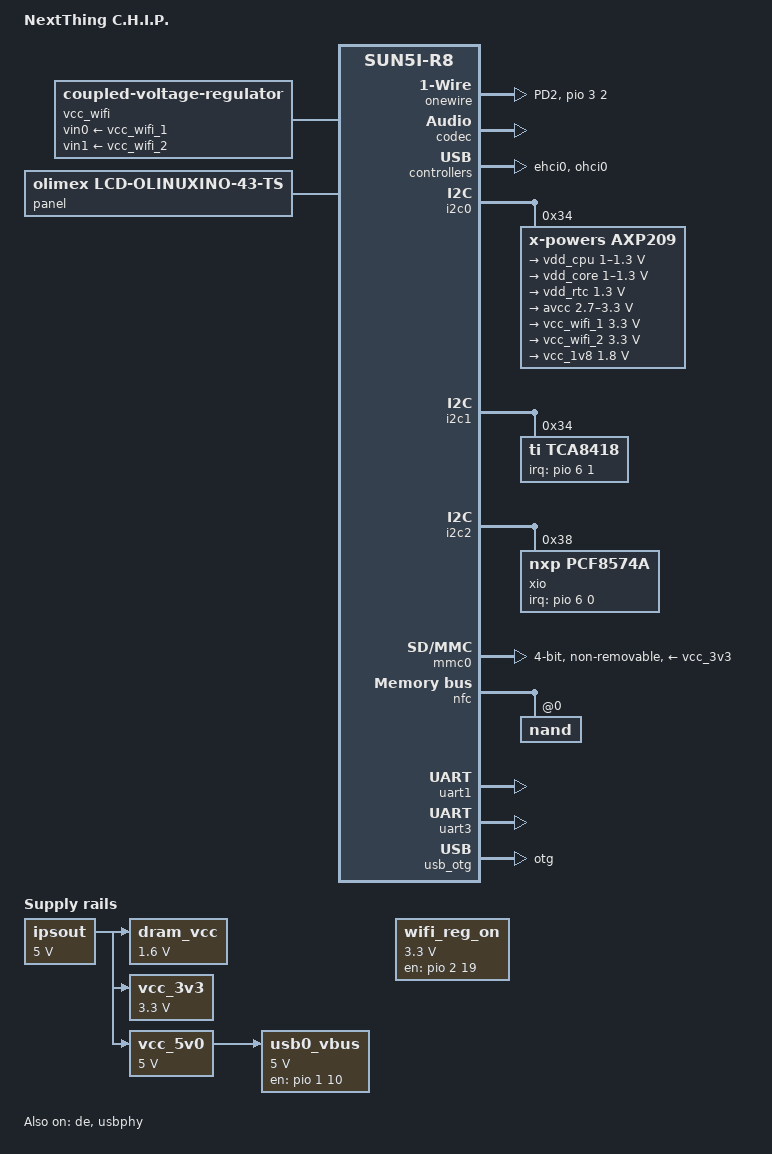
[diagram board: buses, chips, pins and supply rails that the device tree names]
/*
 * Copyright 2015 Maxime Ripard
 *
 * Maxime Ripard <maxime.ripard@free-electrons.com>
 *
 * This file is dual-licensed: you can use it either under the terms
 * of the GPL or the X11 license, at your option. Note that this dual
 * licensing only applies to this file, and not this project as a
 * whole.
 *
 *  a) This file is free software; you can redistribute it and/or
 *     modify it under the terms of the GNU General Public License as
 *     published by the Free Software Foundation; either version 2 of the
 *     License, or (at your option) any later version.
 *
 *     This file is distributed in the hope that it will be useful,
 *     but WITHOUT ANY WARRANTY; without even the implied warranty of
 *     MERCHANTABILITY or FITNESS FOR A PARTICULAR PURPOSE.  See the
 *     GNU General Public License for more details.
 *
 * Or, alternatively,
 *
 *  b) Permission is hereby granted, free of charge, to any person
 *     obtaining a copy of this software and associated documentation
 *     files (the "Software"), to deal in the Software without
 *     restriction, including without limitation the rights to use,
 *     copy, modify, merge, publish, distribute, sublicense, and/or
 *     sell copies of the Software, and to permit persons to whom the
 *     Software is furnished to do so, subject to the following
 *     conditions:
 *
 *     The above copyright notice and this permission notice shall be
 *     included in all copies or substantial portions of the Software.
 *
 *     THE SOFTWARE IS PROVIDED "AS IS", WITHOUT WARRANTY OF ANY KIND,
 *     EXPRESS OR IMPLIED, INCLUDING BUT NOT LIMITED TO THE WARRANTIES
 *     OF MERCHANTABILITY, FITNESS FOR A PARTICULAR PURPOSE AND
 *     NONINFRINGEMENT. IN NO EVENT SHALL THE AUTHORS OR COPYRIGHT
 *     HOLDERS BE LIABLE FOR ANY CLAIM, DAMAGES OR OTHER LIABILITY,
 *     WHETHER IN AN ACTION OF CONTRACT, TORT OR OTHERWISE, ARISING
 *     FROM, OUT OF OR IN CONNECTION WITH THE SOFTWARE OR THE USE OR
 *     OTHER DEALINGS IN THE SOFTWARE.
 */

/dts-v1/;
#include "sun5i-r8.dtsi"

#include <dt-bindings/gpio/gpio.h>
#include <dt-bindings/interrupt-controller/irq.h>

/ {
	model = "NextThing C.H.I.P.";
	compatible = "nextthing,chip", "allwinner,sun5i-r8";

	aliases {
		i2c0 = &i2c0;
		i2c1 = &i2c1;
		i2c2 = &i2c2;
		serial0 = &uart1;
		serial1 = &uart3;
	};

	chosen {
		stdout-path = "serial0:115200n8";
	};

	onewire {
		compatible = "w1-gpio";
		gpios = <&pio 3 2 GPIO_ACTIVE_HIGH>; /* PD2 */
		pinctrl-names = "default";
		pinctrl-0 = <&chip_w1_pin>;
	};

	dram_vcc: dram_vcc {
		compatible = "regulator-fixed";
		regulator-name = "dram-vcc";
		regulator-min-microvolt = <1600000>;
		regulator-max-microvolt = <1600000>;
		vin-supply = <&ipsout>;
		regulator-always-on;
	};

	ipsout: ipsout {
		compatible = "regulator-fixed";
		regulator-name = "ipsout";
		regulator-min-microvolt = <5000000>;
		regulator-max-microvolt = <5000000>;
		regulator-always-on;
	};

	usb0_vbus: usb0_vbus {
		compatible = "regulator-fixed";
		pinctrl-names = "default";
		pinctrl-0 = <&chip_vbus_pin>;

		regulator-name = "vbus-usb0";
		regulator-min-microvolt = <5000000>;
		regulator-max-microvolt = <5000000>;
		vin-supply = <&vcc_5v0>;
		gpio = <&pio 1 10 GPIO_ACTIVE_HIGH>; /* PB10 */
		enable-active-high;
	};

	vcc_3v3: vcc3v3 {
		compatible = "regulator-fixed";
		regulator-name = "vcc-3v3";
		regulator-min-microvolt = <3300000>;
		regulator-max-microvolt = <3300000>;
		vin-supply = <&ipsout>;
		regulator-always-on;
	};

	vcc_5v0: vcc5v0 {
		compatible = "regulator-fixed";
		regulator-name = "vcc-5v0";
		regulator-min-microvolt = <5000000>;
		regulator-max-microvolt = <5000000>;
		vin-supply = <&ipsout>;
		regulator-always-on;
	};

	/*
	 * This is actually an active-low reset line for the WLAN
	 * part of the WiFi/BT CHIP.
	 *
	 * Just like for LDO3 and LDO4, we cannot tie it to the DT
	 * node of the SDIO device for now, as there is no bindings
	 * for it, so we need to have this hack.
	 */
	wifi_reg_on: wifi_reg_on {
		compatible = "regulator-fixed";
		pinctrl-names = "default";
		pinctrl-0 = <&chip_wifi_reg_on_pin>;

		regulator-name = "wifi-reg-on";
		regulator-min-microvolt = <3300000>;
		regulator-max-microvolt = <3300000>;
		regulator-always-on;
		gpio = <&pio 2 19 GPIO_ACTIVE_HIGH>; /* PC19 */
		enable-active-high;
	};

	/*
	 * Both LDO3 and LDO4 are used in parallel to power up the
	 * WiFi/BT Chip.
	 *
	 * If those are not enabled, the SDIO part will not enumerate,
	 * and since there's no way currently to pass DT infos to an
	 * SDIO device, we cannot really do better than this ugly hack
	 * for now.
	 */

	vcc_wifi: wifi_reg {
		compatible = "coupled-voltage-regulator";
		regulator-name = "vcc-wifi";
		vin0-supply = <&vcc_wifi_1>;
		vin1-supply = <&vcc_wifi_2>;
		regulator-always-on;
	};

	panel: panel {
		compatible = "olimex,lcd-olinuxino-43-ts";
	};
};

&codec {
	routing =
		"Headphone Jack", "HP Left",
		"Headphone Jack", "HP Right";
	status = "okay";
};

&de {
	allwinner,panel = <&panel>;
	status = "okay";
};

&ehci0 {
	status = "okay";
};

&i2c0 {
	pinctrl-names = "default";
	pinctrl-0 = <&i2c0_pins_a>;
	status = "okay";

	axp209: pmic@34 {
		compatible = "x-powers,axp209";
		reg = <0x34>;

		/*
		 * The interrupt is routed through the "External Fast
                 * Interrupt Request" pin (ball G13 of the module)
                 * directly to the main interrupt controller, without
                 * any other controller interfering.
		 */
		interrupts = <0>;

		interrupt-controller;
		#interrupt-cells = <1>;

		regulators {
			vdd_cpu: dcdc2 {
				regulator-min-microvolt = <1000000>;
				regulator-max-microvolt = <1300000>;
				regulator-name = "cpuvdd";
				regulator-always-on;
			};

			vdd_core: dcdc3 {
				regulator-min-microvolt = <1000000>;
				regulator-max-microvolt = <1300000>;
				regulator-name = "corevdd";
				regulator-always-on;
			};

			vdd_rtc: ldo1 {
				regulator-min-microvolt = <1300000>;
				regulator-max-microvolt = <1300000>;
				regulator-name = "rtcvdd";
				regulator-always-on;
			};

			avcc: ldo2 {
				regulator-min-microvolt = <2700000>;
				regulator-max-microvolt = <3300000>;
				regulator-name = "avcc";
				regulator-always-on;
			};

			vcc_wifi_1: ldo3 {
				regulator-min-microvolt = <3300000>;
				regulator-max-microvolt = <3300000>;
				regulator-name = "vcc-wifi-1";
			};

			vcc_wifi_2: ldo4 {
				regulator-min-microvolt = <3300000>;
				regulator-max-microvolt = <3300000>;
				regulator-name = "vcc-wifi-2";
			};

			vcc_1v8: ldo5 {
				regulator-min-microvolt = <1800000>;
				regulator-max-microvolt = <1800000>;
				regulator-name = "vcc-1v8";
			};
		};
	};
};

/*
 * i2c1 is routed to the external pins and doesn't have any device
 * attached to it on the C.H.I.P itself.
 */
&i2c1 {
	pinctrl-names = "default";
	pinctrl-0 = <&i2c1_pins_a>;
	status = "okay";
};

&i2c2 {
	pinctrl-names = "default";
	pinctrl-0 = <&i2c2_pins_a>;
	status = "okay";

	xio: gpio@38 {
		compatible = "nxp,pcf8574a";
		reg = <0x38>;

		gpio-controller;
		#gpio-cells = <2>;

		interrupt-parent = <&pio>;
		interrupts = <6 0 IRQ_TYPE_EDGE_FALLING>;
		interrupt-controller;
		#interrupt-cells = <2>;
	};
};

&mmc0_pins_a {
	allwinner,pull = <SUN4I_PINCTRL_PULL_UP>;
};

&mmc0 {
	pinctrl-names = "default";
	pinctrl-0 = <&mmc0_pins_a>;
	vmmc-supply = <&vcc_3v3>;
	bus-width = <4>;
	non-removable;
	status = "okay";
};

&nfc {
	pinctrl-names = "default";
	pinctrl-0 = <&nand_pins_a &nand_cs0_pins_a &nand_rb0_pins_a>;
	status = "okay";

	nand@0 {
		#address-cells = <2>;
		#size-cells = <2>;
		reg = <0>;
		allwinner,rb = <0>;
		nand-ecc-mode = "hw";
		nand-ecc-step-size = <1024>;
		nand-ecc-strength = <56>;
    /*
		nand-on-flash-bbt;
    */
		allwinner,randomize;

		spl@0 {
			label = "SPL";
			reg = /bits/ 64 <0x0 0x400000>;
		};

		spl-backup@400000 {
			label = "SPL.backup";
			reg = /bits/ 64 <0x400000 0x400000>;
		};

		u-boot@800000 {
			label = "U-Boot";
			reg = /bits/ 64 <0x800000 0x400000>;
		};

		env@c00000 {
			label = "env";
			reg = /bits/ 64 <0xc00000 0x400000>;
		};

		rootfs@1000000 {
			label = "rootfs";
			reg = /bits/ 64 <0x1000000 0x1ff000000>;
		};
	};
};

&ohci0 {
	status = "okay";
};

&otg_sram {
	status = "okay";
};

&pio {
	chip_vbus_pin: chip_vbus_pin@0 {
	        allwinner,pins = "PB10";
	        allwinner,function = "gpio_out";
	        allwinner,drive = <SUN4I_PINCTRL_10_MA>;
	        allwinner,pull = <SUN4I_PINCTRL_NO_PULL>;
	};

	chip_wifi_reg_on_pin: chip_wifi_reg_on_pin@0 {
	        allwinner,pins = "PC19";
	        allwinner,function = "gpio_out";
	        allwinner,drive = <SUN4I_PINCTRL_10_MA>;
	        allwinner,pull = <SUN4I_PINCTRL_NO_PULL>;
	};

	chip_id_det_pin: chip_id_det_pin@0 {
	        allwinner,pins = "PG2";
	        allwinner,function = "gpio_in";
	        allwinner,drive = <SUN4I_PINCTRL_10_MA>;
	        allwinner,pull = <SUN4I_PINCTRL_NO_PULL>;
	};

	chip_w1_pin: chip_w1_pin@0 {
		allwinner,pins = "PD2";
		allwinner,function = "gpio_in";
	        allwinner,drive = <SUN4I_PINCTRL_10_MA>;
	        allwinner,pull = <SUN4I_PINCTRL_PULL_UP>;
	};
};

&uart1 {
	pinctrl-names = "default";
	pinctrl-0 = <&uart1_pins_b>;
	status = "okay";
};

&uart3 {
	pinctrl-names = "default";
	pinctrl-0 = <&uart3_pins_a>,
		    <&uart3_pins_cts_rts_a>;
	status = "okay";
};

&usb_otg {
	dr_mode = "otg";
	status = "okay";
};

&usbphy {
	pinctrl-names = "default";
	pinctrl-0 = <&chip_id_det_pin>;
	status = "okay";

	usb0_id_det-gpio = <&pio 6 2 GPIO_ACTIVE_HIGH>; /* PG2 */

	usb0_vbus-supply = <&usb0_vbus>;
	usb1_vbus-supply = <&vcc_5v0>;
};

&i2c1 {
        pinctrl-names = "default";
        pinctrl-0 = <&i2c1_pins_a>;
        status = "okay";
        /* keyboard scanner */
        tca8418@34 {
                compatible = "ti,tca8418";
                reg = <0x34>;
                /* the interrupt is specified as:
                        The first cell is the number of the bank
                        The second cell is the interrupt inside that bank
                        The third cell is used to specify flags
                */
                interrupt-parent = <&pio>;
                interrupts = <6 1 IRQ_TYPE_EDGE_FALLING>;    /* AP-EINT1 */
                keypad,num-rows = <6>;
                keypad,num-columns = <10>;
                keypad,autorepeat;
                linux,keymap = <
                        0x00000002
                        0x00010003
                        0x00020004
                        0x00030005
                        0x00040006
                        0x00050007
                        0x00060008
                        0x00070009
                        0x0008000a
                        0x0009000b
                        0x01000010
                        0x01010011
                        0x01020012
                        0x01030013
                        0x01040014
                        0x01050015
                        0x01060016
                        0x01070017
                        0x01080018
                        0x01090019
                        0x0200001e
                        0x0201001f
                        0x02020020
                        0x02030021
                        0x02040022
                        0x02050023
                        0x02060024
                        0x02070025
                        0x02080026
                        0x0209001c
                        0x0300002a
                        0x0301002c
                        0x0302002d
                        0x0303002e
                        0x0304002f
                        0x03050030
                        0x03060031
                        0x03070032
                        0x03080067
                        0x0309006c
                        0x0400001d
                        0x04010064
                        0x04020038
                        0x04030039
                        0x0404000f
                        0x04050035
                        0x04060036
                        0x04080069
                        0x0409006a
                        0x05000029
                        0x0501004a
                        0x0502004e
                        0x0503000e
                        0x05040034
                >;
        };
};


&rtp {
        allwinner,ts-attached;
};
